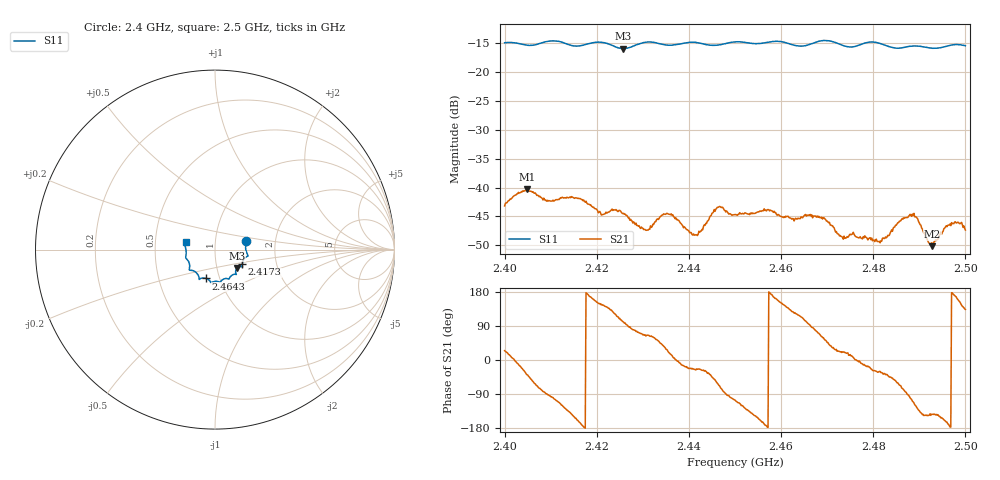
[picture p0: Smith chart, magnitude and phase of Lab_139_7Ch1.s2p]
# Hz S RI R 50
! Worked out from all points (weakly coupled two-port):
!   601 points, 2.4 GHz to 2.5 GHz, reference 50 ohm
!   highest |S21| = -40.33 dB at 2.4048 GHz (marker M1); lowest = -50.1 dB at 2.4928 GHz (marker M2)
!   lowest |S11| = -15.9 dB at 2.4257 GHz (marker M3), VSWR 1.38, Z = 62.5 - j13.1 ohm
!   |S11| at or under -10 dB: start of sweep to end of sweep
!   S12 and S22 are empty: the file has one direction only
!   S11 on the Smith chart (normalised r, x): 2.4 GHz: 1.41, +0.14; 2.4173 GHz: 1.34, -0.23; 2.4643 GHz: 0.86, -0.28; 2.5 GHz: 0.72, +0.06
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2.4e9  0.173 0.0489  0.00631 0.00288  0 0  0 0
2.404833e9  0.1707 0.016  0.00751 -0.00603  0 0  0 0
2.409333e9  0.1826 -0.0307  -0.000207 -0.00776  0 0  0 0
2.416667e9  0.1527 -0.0748  -0.00778 -0.00138  0 0  0 0
2.417333e9  0.1518 -0.0822  -0.00758 -0.000208  0 0  0 0
2.421333e9  0.1535 -0.096  -0.00479 0.00332  0 0  0 0
2.425667e9  0.1229 -0.1024  -0.00116 0.00583  0 0  0 0
2.430667e9  0.1187 -0.1381  0.00192 0.00381  0 0  0 0
2.433333e9  0.1129 -0.1372  0.00334 0.0041  0 0  0 0
2.436e9  0.0941 -0.1431  0.00561 0.00154  0 0  0 0
2.441333e9  0.0766 -0.1646  0.00353 -0.00163  0 0  0 0
2.446333e9  0.0448 -0.166  0.00298 -0.00606  0 0  0 0
2.45e9  0.0295 -0.1808  -0.00159 -0.00561  0 0  0 0
2.456833e9  -0.0131 -0.1803  -0.00625 -0.000648  0 0  0 0
2.464333e9  -0.0499 -0.1605  -0.00224 0.00512  0 0  0 0
2.466667e9  -0.0759 -0.1595  0.000374 0.00579  0 0  0 0
2.473667e9  -0.0952 -0.1397  0.00354 0.00139  0 0  0 0
2.483333e9  -0.141 -0.0894  0.00282 -0.0026  0 0  0 0
2.488333e9  -0.1614 -0.0488  -0.00136 -0.00547  0 0  0 0
2.492833e9  -0.1604 -0.0158  -0.00249 -0.00187  0 0  0 0
2.496667e9  -0.1691 0.0246  -0.00484 -0.000272  0 0  0 0
2.5e9  -0.1639 0.0427  -0.00294 0.00312  0 0  0 0
